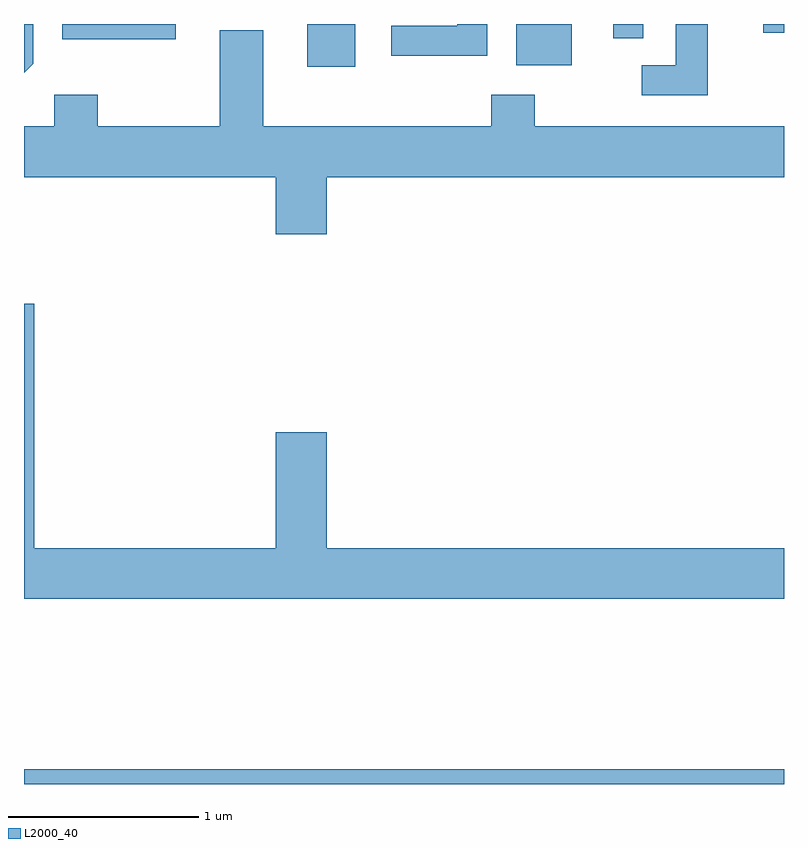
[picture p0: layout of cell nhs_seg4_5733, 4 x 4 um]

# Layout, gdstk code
import gdstk
lib = gdstk.Library(unit=1e-6, precision=1e-09)
def R(c, l, rs):  # rectangles x0, y0, x1, y1
    for r in rs: c.add(gdstk.rectangle(r[:2], r[2:], *l))
def P(c, l, *ps):  # polygons
    for p in ps: c.add(gdstk.Polygon(p, *l))
L2000_40 = (2000, 40)

nhs_seg4_5733 = lib.new_cell('nhs_seg4_5733')
R(nhs_seg4_5733, L2000_40, [(353.611,1295.982,357.611,1296.059), (355.101,1299.756,355.354,1299.982), (356.201,1299.766,356.494,1299.982), (353.811,1299.901,354.409,1299.982), (356.711,1299.908,356.869,1299.982), (357.501,1299.936,357.611,1299.982)])
P(nhs_seg4_5733, L2000_40, [(357.209,1299.982),(357.041,1299.982),(357.041,1299.764),(356.863,1299.764),(356.863,1299.606),(357.209,1299.606)],
  [(356.049,1299.982),(355.891,1299.982),(355.891,1299.974),(355.543,1299.974),(355.543,1299.816),(356.049,1299.816)],
  [(353.659,1299.774),(353.659,1299.982),(353.611,1299.982),(353.611,1299.726)],
  [(355.204,1299.176),(357.611,1299.176),(357.611,1299.444),(356.299,1299.444),(356.299,1299.609),(356.071,1299.609),(356.071,1299.444),(354.869,1299.444),(354.869,1299.949),(354.641,1299.949),(354.641,1299.444),(353.999,1299.444),(353.999,1299.609),(353.771,1299.609),(353.771,1299.444),(353.611,1299.444),(353.611,1299.176),(354.936,1299.176),(354.936,1298.876),(355.204,1298.876)],
  [(357.611,1297.224),(355.204,1297.224),(355.204,1297.834),(354.936,1297.834),(354.936,1297.224),(353.664,1297.224),(353.664,1298.509),(353.611,1298.509),(353.611,1296.956),(357.611,1296.956)])

lib.write_gds('nhs_seg4_5733.gds')
